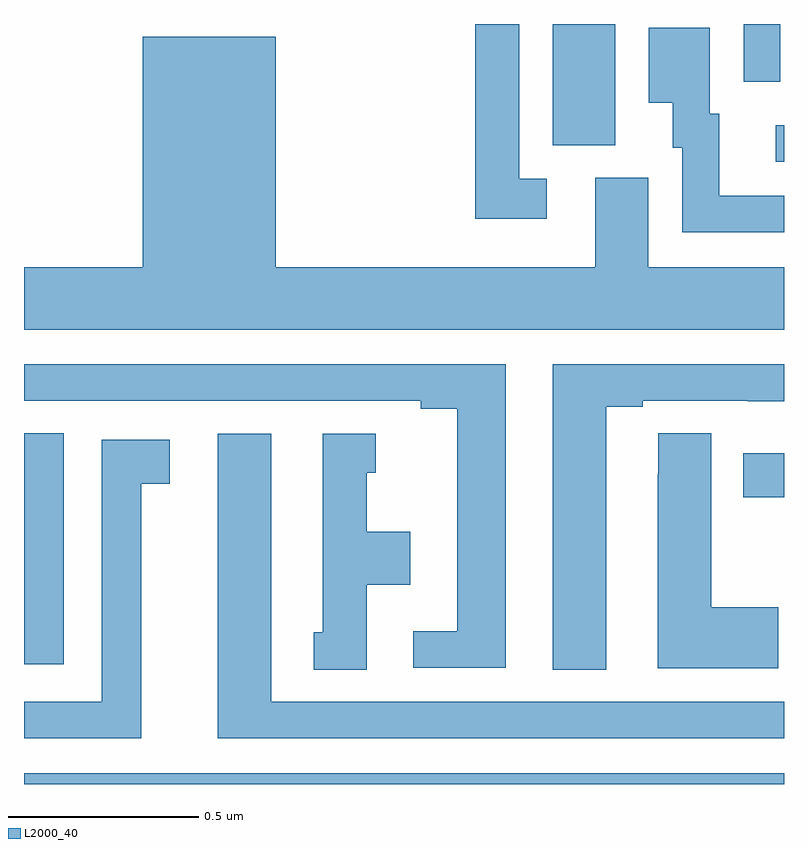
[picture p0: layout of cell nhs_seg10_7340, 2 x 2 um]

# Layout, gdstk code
import gdstk
lib = gdstk.Library(unit=1e-6, precision=1e-09)
def R(c, l, rs):  # rectangles x0, y0, x1, y1
    for r in rs: c.add(gdstk.rectangle(r[:2], r[2:], *l))
def P(c, l, *ps):  # polygons
    for p in ps: c.add(gdstk.Polygon(p, *l))
L2000_40 = (2000, 40)

nhs_seg10_7340 = lib.new_cell('nhs_seg10_7340')
R(nhs_seg10_7340, L2000_40, [(203,1252.5,205,1252.528), (203,1252.815,203.104,1253.423), (204.893,1253.254,205,1253.37), (204.978,1254.138,205,1254.234), (204.392,1254.181,204.556,1254.5), (204.894,1254.348,204.99,1254.5)])
P(nhs_seg10_7340, L2000_40, [(204.376,1254.093),(204.303,1254.093),(204.303,1254.5),(204.187,1254.5),(204.187,1253.988),(204.376,1253.988)],
  [(205,1254.048),(204.829,1254.048),(204.829,1254.264),(204.805,1254.264),(204.805,1254.49),(204.644,1254.49),(204.644,1254.293),(204.707,1254.293),(204.707,1254.174),(204.732,1254.174),(204.732,1253.952),(205,1253.952)],
  [(203.312,1254.466),(203.312,1253.86),(203,1253.86),(203,1253.696),(205,1253.696),(205,1253.86),(204.643,1253.86),(204.643,1254.096),(204.503,1254.096),(204.503,1253.86),(203.662,1253.86),(203.662,1254.466)],
  [(204.532,1253.493),(204.628,1253.493),(204.628,1253.508),(204.904,1253.508),(204.904,1253.507),(205,1253.507),(205,1253.604),(204.392,1253.604),(204.392,1252.801),(204.532,1252.801)],
  [(204.268,1253.604),(203,1253.604),(203,1253.508),(204.044,1253.508),(204.044,1253.488),(204.14,1253.488),(204.14,1252.902),(204.024,1252.902),(204.024,1252.806),(204.268,1252.806)],
  [(204.985,1252.965),(204.808,1252.965),(204.808,1253.423),(204.669,1253.423),(204.669,1253.315),(204.668,1253.315),(204.668,1252.805),(204.985,1252.805)],
  [(205,1252.716),(203.65,1252.716),(203.65,1253.422),(203.51,1253.422),(203.51,1252.62),(205,1252.62)],
  [(203.902,1253.024),(204.016,1253.024),(204.016,1253.164),(203.902,1253.164),(203.902,1253.319),(203.926,1253.319),(203.926,1253.422),(203.786,1253.422),(203.786,1252.899),(203.762,1252.899),(203.762,1252.801),(203.902,1252.801)],
  [(203.308,1253.29),(203.383,1253.29),(203.383,1253.406),(203.204,1253.406),(203.204,1252.716),(203,1252.716),(203,1252.62),(203.308,1252.62)])

lib.write_gds('nhs_seg10_7340.gds')
